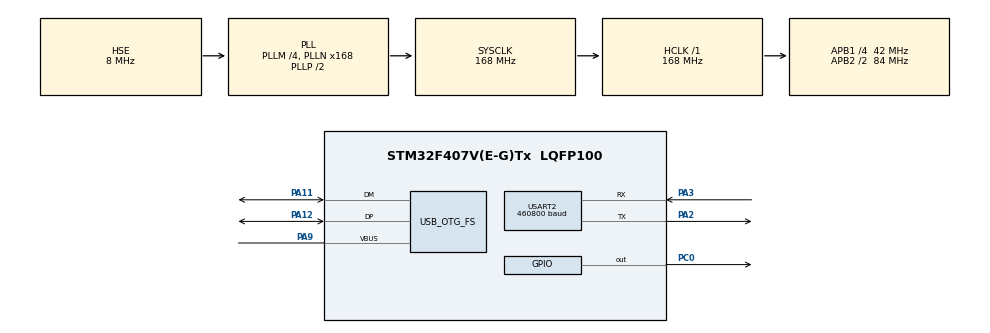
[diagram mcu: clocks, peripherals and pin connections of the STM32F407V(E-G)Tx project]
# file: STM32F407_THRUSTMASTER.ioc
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Mcu.Family=STM32F4
Mcu.Name=STM32F407V(E-G)Tx
Mcu.Package=LQFP100
NVIC.OTG_FS_IRQn=true\:0\:0\:false\:false\:true\:false\:true\:true
NVIC.PriorityGroup=NVIC_PRIORITYGROUP_4
PA11.Mode=Host_Only
PA11.Signal=USB_OTG_FS_DM
PA12.Mode=Host_Only
PA12.Signal=USB_OTG_FS_DP
PA2.Mode=Asynchronous
PA2.Signal=USART2_TX
PA3.Mode=Asynchronous
PA3.Signal=USART2_RX
PA9.Mode=Activate_VBUS
PA9.Signal=USB_OTG_FS_VBUS
PC0.Signal=GPIO_Output
PH0-OSC_IN.Mode=HSE-External-Oscillator
PH0-OSC_IN.Signal=RCC_OSC_IN
PH1-OSC_OUT.Mode=HSE-External-Oscillator
PH1-OSC_OUT.Signal=RCC_OSC_OUT
ProjectManager.HeapSize=0x200
ProjectManager.StackSize=0x400
ProjectManager.TargetToolchain=STM32CubeIDE
RCC.48MHZClocksFreq_Value=48000000
RCC.AHBFreq_Value=168000000
RCC.APB1CLKDivider=RCC_HCLK_DIV4
RCC.APB1Freq_Value=42000000
RCC.APB1TimFreq_Value=84000000
RCC.APB2CLKDivider=RCC_HCLK_DIV2
RCC.APB2Freq_Value=84000000
RCC.APB2TimFreq_Value=168000000
RCC.CortexFreq_Value=168000000
RCC.HCLKFreq_Value=168000000
RCC.HSE_VALUE=8000000
RCC.HSI_VALUE=16000000
RCC.LSE_VALUE=32768
RCC.PLLM=4
RCC.PLLN=168
RCC.PLLQ=7
RCC.SYSCLKFreq_VALUE=168000000
RCC.SYSCLKSource=RCC_SYSCLKSOURCE_PLLCLK
RCC.VCOOutputFreq_Value=336000000
USART2.BaudRate=460800
USART2.VirtualMode=VM_ASYNC
USB_HOST.BSP.number=1
USB_HOST.USBH_HandleTypeDef-HID_FS=hUsbHostFS
USB_HOST.VirtualModeFS=Hid
USB_HOST0.BSP.STBoard=false
USB_HOST0.BSP.api=Unknown
USB_HOST0.BSP.condition=SW_VBUS_DRIVE_HID_FS \= false
USB_HOST0.BSP.instance=PC0
USB_HOST0.BSP.ip=GPIO
USB_HOST0.BSP.mode=Output
USB_HOST0.BSP.name=Drive_VBUS_FS
USB_HOST0.BSP.solution=PC0
USB_OTG_FS.VirtualMode=Host_Only
USB_OTG_FS.phy_itface=HCD_PHY_EMBEDDED
VP_USB_HOST_VS_USB_HOST_HID_FS.Mode=HID_FS
board=custom

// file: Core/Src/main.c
/* USER CODE BEGIN Header */
/**
  ******************************************************************************
  * @file           : main.c
  * @brief          : Main program body
  ******************************************************************************
  * @attention
  *
  * Copyright (c) 2026 STMicroelectronics.
  * All rights reserved.
  *
  * This software is licensed under terms that can be found in the LICENSE file
  * in the root directory of this software component.
  * If no LICENSE file comes with this software, it is provided AS-IS.
  *
  ******************************************************************************
  */
/* USER CODE END Header */
#include "main.h"
#include "usart.h"
#include "usb_host.h"
#include "gpio.h"

/* USER CODE BEGIN Includes */
#include "usbh_hid.h"
#include "usbh_hid_joystick.h"

/* USER CODE END Includes */

/* USER CODE BEGIN PV */
// Global buffer for processed joystick data
volatile JoystickData_t g_joystickData;

/* USER CODE END PV */

void SystemClock_Config(void);
void MX_USB_HOST_Process(void);

/* USER CODE BEGIN PFP */
void uint16_to_padded_str(uint16_t value, char *str);

/* USER CODE END PFP */

/* USER CODE BEGIN 0 */
void USBH_HID_EventCallback(USBH_HandleTypeDef *phost) {
    HID_HandleTypeDef *HID_Handle = (HID_HandleTypeDef *)phost->pActiveClass->pData;
    uint8_t *current = HID_Handle->pData;

    // Only process new reports (compare first 8 bytes)
    static uint8_t last_report[JOYSTICK_REPORT_EFFECTIVE_SIZE];

    if (memcmp(current, last_report, JOYSTICK_REPORT_EFFECTIVE_SIZE) != 0) {
        memcpy(last_report, current, JOYSTICK_REPORT_EFFECTIVE_SIZE);

        JoystickData_t data = USBH_HID_GetJoystickData(current);

        // Atomically update the global buffer
        __disable_irq();
        g_joystickData = data;
        __enable_irq();
    }
}

/* USER CODE END 0 */

int main(void)
{

  /* USER CODE BEGIN 1 */
  uint32_t lastPrint = 0;

  JoystickData_t localCopyJoystick;

  char xStr[6], yStr[6], msg[40];
  int k;

  // Initialize global buffer
  g_joystickData.x = 0;
  g_joystickData.y = 0;

  for (int i = 0; i < 19; i++) {
	  g_joystickData.buttons[i] = 0;
  }
  g_joystickData.hat_switch = 8;

  /* USER CODE END 1 */

  /* MCU Configuration--------------------------------------------------------*/

  /* Reset of all peripherals, Initializes the Flash interface and the Systick. */
  HAL_Init();

  /* Configure the system clock */
  SystemClock_Config();

  /* Initialize all configured peripherals */
  MX_GPIO_Init();
  MX_USART2_UART_Init();
  MX_USB_HOST_Init();
  /* USER CODE BEGIN 2 */
  HAL_GPIO_WritePin(GPIOC, GPIO_PIN_0, GPIO_PIN_RESET);

  /* USER CODE END 2 */

  /* Infinite loop */
  while (1)
  {
    MX_USB_HOST_Process();

    /* USER CODE BEGIN 3 */
    // Print every 250ms
    if (HAL_GetTick() - lastPrint >= 250) {
    	lastPrint = HAL_GetTick();

        // Copy joystick data atomically
        __disable_irq();
        localCopyJoystick = g_joystickData;
        __enable_irq();

        uint16_to_padded_str(localCopyJoystick.x, xStr);
        uint16_to_padded_str(localCopyJoystick.y, yStr);

        // Put message together: "X:xxxxx Y:yyyyy\r\n"
        k = 0;
        msg[k++] = 'X'; msg[k++] = ':';
        for (int i = 0; i < 5; i++) msg[k++] = xStr[i];
        msg[k++] = ' ';
        msg[k++] = 'Y'; msg[k++] = ':';
        for (int i = 0; i < 5; i++) msg[k++] = yStr[i];
        msg[k++] = '\r'; msg[k++] = '\n';
        msg[k] = '\0';

        HAL_UART_Transmit(&huart2, (uint8_t*)msg, k, 100);
    }
  }
  /* USER CODE END 3 */
}

void SystemClock_Config(void)
{
  RCC_OscInitTypeDef RCC_OscInitStruct = {0};
  RCC_ClkInitTypeDef RCC_ClkInitStruct = {0};

  /** Configure the main internal regulator output voltage
  */
  __HAL_RCC_PWR_CLK_ENABLE();
  __HAL_PWR_VOLTAGESCALING_CONFIG(PWR_REGULATOR_VOLTAGE_SCALE1);

  /** Initializes the RCC Oscillators according to the specified parameters
  * in the RCC_OscInitTypeDef structure.
  */
  RCC_OscInitStruct.OscillatorType = RCC_OSCILLATORTYPE_HSE;
  RCC_OscInitStruct.HSEState = RCC_HSE_ON;
  RCC_OscInitStruct.PLL.PLLState = RCC_PLL_ON;
  RCC_OscInitStruct.PLL.PLLSource = RCC_PLLSOURCE_HSE;
  RCC_OscInitStruct.PLL.PLLM = 4;
  RCC_OscInitStruct.PLL.PLLN = 168;
  RCC_OscInitStruct.PLL.PLLP = RCC_PLLP_DIV2;
  RCC_OscInitStruct.PLL.PLLQ = 7;
  if (HAL_RCC_OscConfig(&RCC_OscInitStruct) != HAL_OK)
  {
    Error_Handler();
  }

  /** Initializes the CPU, AHB and APB buses clocks
  */
  RCC_ClkInitStruct.ClockType = RCC_CLOCKTYPE_HCLK|RCC_CLOCKTYPE_SYSCLK
                              |RCC_CLOCKTYPE_PCLK1|RCC_CLOCKTYPE_PCLK2;
  RCC_ClkInitStruct.SYSCLKSource = RCC_SYSCLKSOURCE_PLLCLK;
  RCC_ClkInitStruct.AHBCLKDivider = RCC_SYSCLK_DIV1;
  RCC_ClkInitStruct.APB1CLKDivider = RCC_HCLK_DIV4;
  RCC_ClkInitStruct.APB2CLKDivider = RCC_HCLK_DIV2;

  if (HAL_RCC_ClockConfig(&RCC_ClkInitStruct, FLASH_LATENCY_5) != HAL_OK)
  {
    Error_Handler();
  }
}

/* USER CODE BEGIN 4 */
void uint16_to_padded_str(uint16_t value, char *str) {
    // Temporary buffer for the numeric characters (max. 5 digits + null terminator)
    char temp[6];
    int i = 0;

    // Convert the number into the temp buffer (stored in reverse order)
    do {
        temp[i++] = (value % 10) + '0';
        value /= 10;
    } while (value > 0 && i < 5);

    // Pad with spaces if the number has fewer than 5 digits
    while (i < 5) {
        temp[i++] = ' ';
    }

    // Reverse the content of temp into the output string (fixed width: 5 chars)
    for (int j = 0; j < 5; j++) {
        str[j] = temp[4 - j];
    }

    // Null‑terminate the result
    str[5] = '\0';
}

/* USER CODE END 4 */

void Error_Handler(void)
{
  __disable_irq();
  while (1)
  {
  }
}
